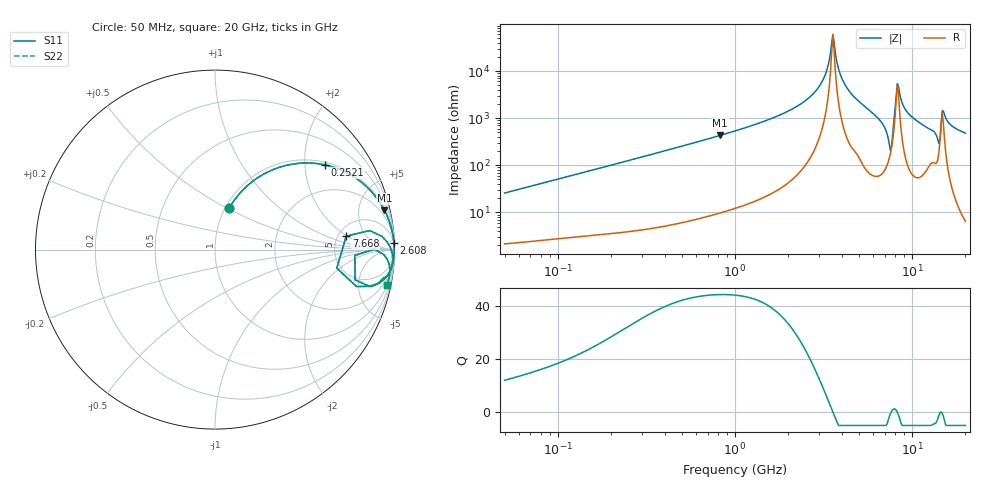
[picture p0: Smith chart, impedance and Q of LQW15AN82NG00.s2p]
!Murata Part Number: LQW15AN82NG00
!These Parameters are Measured in Series Mode Connection
!  o--[Z]--o
!Port1  Port2
!  o-------o
!Freq. Start=50[MHz] Stop=20[GHz], 401[Steps]
# Hz S RI R 50
!Freq.(Hz) S11(Real) S11(Imag) S21(Real) S21(Imag) S12(Real) S12(Imag) S22(Real) S22(Imag)
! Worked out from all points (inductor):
!   401 points, 50 MHz to 20 GHz, reference 50 ohm
!   read as one part in series: L = 81.5 nH near 51.52 MHz
!   highest Q = 44.2 at 823.1 MHz (marker M1), where L = 83.2 nH
!   self-resonance near 3.572 GHz
!   S11 on the Smith chart (normalised r, x): 50 MHz: 1.04, +0.51; 252.1 MHz: 1.08, +2.54; 2.608 GHz: 4, +53; 7.668 GHz: 5.90, +1.92; 20 GHz: 1.13, -9.63
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5e7  0.0794 0.2318  0.9206 -0.2318  0.9206 -0.2318  0.0794 0.2318
1.364002e8  0.3298 0.4482  0.6702 -0.4482  0.6702 -0.4482  0.3298 0.4482
2.520729e8  0.6138 0.4717  0.3862 -0.4717  0.3862 -0.4717  0.6138 0.4717
3.721004e8  0.7734 0.4059  0.2266 -0.4059  0.2266 -0.4059  0.7734 0.4059
8.230629e8  0.9443 0.2183  0.0557 -0.2183  0.0557 -0.2183  0.9443 0.2183
1e9  0.9625 0.1789  0.0375 -0.1789  0.0375 -0.1789  0.9625 0.1789
1.820564e9  0.9908 0.0825  0.00917 -0.0825  0.00917 -0.0825  0.9908 0.0825
2.608132e9  0.9968 0.0371  0.00317 -0.0371  0.00317 -0.0371  0.9968 0.0371
2.728004e9  0.9972 0.0318  0.00276 -0.0318  0.00276 -0.0318  0.9972 0.0318
3.216634e9  0.9982 0.0124  0.00182 -0.0124  0.00182 -0.0124  0.9982 0.0124
3.572216e9  0.9983 2.62e-05  0.00168 -2.62e-05  0.00168 -2.62e-05  0.9983 2.62e-05
3.908127e9  0.9981 -0.0109  0.00187 0.0109  0.00187 0.0109  0.9981 -0.0109
4.212059e9  0.9977 -0.0203  0.00232 0.0203  0.00232 0.0203  0.9977 -0.0203
6.601595e9  0.9801 -0.1092  0.0199 0.1092  0.0199 0.1092  0.9801 -0.1092
7.442007e9  0.7885 -0.2057  0.2115 0.2057  0.2115 0.2057  0.7885 -0.2057
7.668323e9  0.7311 0.075  0.2689 -0.075  0.2689 -0.075  0.7311 0.075
8.141811e9  0.9743 0.0174  0.0257 -0.0174  0.0257 -0.0174  0.9743 0.0174
8.389408e9  0.9857 -0.0156  0.0143 0.0156  0.0143 0.0156  0.9857 -0.0156
9.600142e9  0.9878 -0.0804  0.0122 0.0804  0.0122 0.0804  0.9878 -0.0804
1.396067e10  0.8582 -0.2035  0.1418 0.2035  0.1418 0.2035  0.8582 -0.2035
1.504638e10  0.9617 -0.0576  0.0383 0.0576  0.0383 0.0576  0.9617 -0.0576
2e10  0.9562 -0.198  0.0438 0.198  0.0438 0.198  0.9562 -0.198
